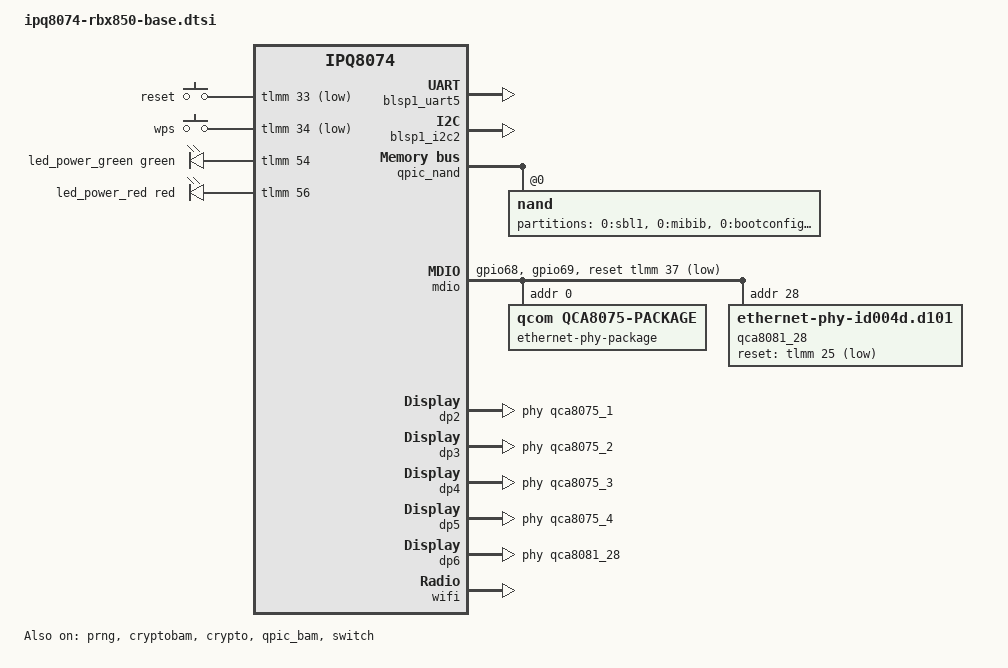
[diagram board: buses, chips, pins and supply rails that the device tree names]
// SPDX-License-Identifier: GPL-2.0-or-later OR MIT
/*
 * Copyright (c) 2021, Flole <flole@flole.de>
 * Copyright (c) 2023, Andrew Smith <gul.code@outlook.com>
 */

/dts-v1/;

#include "ipq8074.dtsi"
#include "ipq8074-ess.dtsi"
#include "ipq8074-hk-cpu.dtsi"
#include <dt-bindings/gpio/gpio.h>
#include <dt-bindings/input/input.h>
#include <dt-bindings/leds/common.h>

/ {
	aliases {
		serial0 = &blsp1_uart5;
		led-boot = &led_power_green;
		led-failsafe = &led_power_red;
		led-running = &led_power_green;
		led-upgrade = &led_power_green;
		label-mac-device = &dp2;
	};

	chosen {
		stdout-path = "serial0:115200n8";
		bootargs = "console=ttyMSM0,115200n8 ubi.mtd=fs ubi.block=0,rootfs root=/dev/ubiblock0_1 rootfstype=squashfs rootwait";
	};

	keys {
		compatible = "gpio-keys";

		reset {
			label = "reset";
			gpios = <&tlmm 33 GPIO_ACTIVE_LOW>;
			linux,code = <KEY_RESTART>;
		};

		wps {
			label = "wps";
			gpios = <&tlmm 34 GPIO_ACTIVE_LOW>;
			linux,code = <KEY_WPS_BUTTON>;
		};
	};

	leds {
		compatible = "gpio-leds";

		led_power_green: power-green {
			function = LED_FUNCTION_POWER;
			gpios = <&tlmm 54 GPIO_ACTIVE_HIGH>;
			color = <LED_COLOR_ID_GREEN>;
		};

		led_power_red: power-red {
			function = LED_FUNCTION_POWER;
			gpios = <&tlmm 56 GPIO_ACTIVE_HIGH>;
			color = <LED_COLOR_ID_RED>;
			panic-indicator;
		};
	};
};

&tlmm {
	mdio_pins: mdio-pins {
		mdc {
			pins = "gpio68";
			function = "mdc";
			drive-strength = <8>;
			bias-pull-up;
		};

		mdio {
			pins = "gpio69";
			function = "mdio";
			drive-strength = <8>;
			bias-pull-up;
		};
	};

	leds_pins: leds_pinmux {
		led_power_green {
			pins = "gpio54";
			function = "gpio";
			drive-strength = <8>;
			bias-pull-down;
		};

		led_power_red {
			pins = "gpio56";
			function = "gpio";
			drive-strength = <8>;
			bias-pull-down;
		};

	};

	button_pins: buttons_pinmux {
		wps_button {
			pins = "gpio34";
			function = "gpio";
			drive-strength = <8>;
			bias-pull-up;
		};

		reset_button {
			pins = "gpio33";
			function = "gpio";
			drive-strength = <8>;
			bias-pull-up;
		};
	};
};

&blsp1_uart5 {
	status = "okay";
};

&blsp1_i2c2 {
	pinctrl-0 = <&i2c_0_pins>;
	pinctrl-names = "default";

	status = "okay";
};

&prng {
	status = "okay";
};

&cryptobam {
	status = "okay";
};

&crypto {
	status = "okay";
};

&qpic_bam {
	status = "okay";
};

&qpic_nand {
	status = "okay";

	/*
	 * Bootloader will find the NAND DT node by the compatible and
	 * then "fixup" it by adding the partitions from the SMEM table
	 * using the legacy bindings thus making it impossible for us
	 * to change the partition table or utilize NVMEM for calibration.
	 * So add a dummy partitions node that bootloader will populate
	 * and set it as disabled so the kernel ignores it instead of
	 * printing warnings due to the broken way bootloader adds the
	 * partitions.
	 */
	partitions {
		status = "disabled";
	};

	nand@0 {
		reg = <0>;
		nand-ecc-strength = <4>;
		nand-ecc-step-size = <512>;
		nand-bus-width = <8>;

		partitions {
			compatible = "fixed-partitions";
			#address-cells = <1>;
			#size-cells = <1>;

			partition@0 {
				label = "0:sbl1";
				reg = <0x00 0x100000>;
				read-only;
			};

			partition@100000 {
				label = "0:mibib";
				reg = <0x100000 0x100000>;
				read-only;
			};

			partition@200000 {
				label = "0:bootconfig";
				reg = <0x200000 0x80000>;
				read-only;
			};

			partition@280000 {
				label = "0:bootconfig_1";
				reg = <0x280000 0x80000>;
				read-only;
			};

			partition@300000 {
				label = "0:qsee";
				reg = <0x300000 0x300000>;
				read-only;
			};

			partition@600000 {
				label = "0:qsee_1";
				reg = <0x600000 0x300000>;
				read-only;
			};

			partition@900000 {
				label = "0:devcfg";
				reg = <0x900000 0x80000>;
				read-only;
			};

			partition@980000 {
				label = "0:devcfg_1";
				reg = <0x980000 0x80000>;
				read-only;
			};

			partition@a00000 {
				label = "0:apdp";
				reg = <0xa00000 0x80000>;
				read-only;
			};

			partition@a80000 {
				label = "0:apdp_1";
				reg = <0xa80000 0x80000>;
				read-only;
			};

			partition@b00000 {
				label = "0:rpm";
				reg = <0xb00000 0x80000>;
				read-only;
			};

			partition@b80000 {
				label = "0:rpm_1";
				reg = <0xb80000 0x80000>;
				read-only;
			};

			partition@c00000 {
				label = "0:cdt";
				reg = <0xc00000 0x80000>;
				read-only;
			};

			partition@c80000 {
				label = "0:cdt_1";
				reg = <0xc80000 0x80000>;
				read-only;
			};

			partition@d00000 {
				label = "0:appsblenv";
				reg = <0xd00000 0x80000>;
			};

			partition@d80000 {
				label = "0:appsbl";
				reg = <0xd80000 0x100000>;
				read-only;
			};

			partition@e80000 {
				label = "0:appsbl_1";
				reg = <0xe80000 0x100000>;
				read-only;
			};

			partition@f80000 {
				label = "0:art";
				reg = <0xf80000 0x80000>;
				read-only;

				nvmem-layout {
					compatible = "fixed-layout";
					#address-cells = <1>;
					#size-cells = <1>;

					/* vendor copies 0x20000 from ART offset 0x1000 */
					caldata_art: calibration@1000 {
						reg = <0x1000 0x20000>;
					};
				};
			};

			partition@1000000 {
				label = "0:art.bak";
				reg = <0x1000000 0x80000>;
				read-only;
			};

			partition@1080000 {
				label = "config";
				reg = <0x1080000 0x100000>;
			};

			partition@1180000 {
				label = "boarddata1";
				reg = <0x1180000 0x100000>;

				nvmem-layout {
					compatible = "fixed-layout";
					#address-cells = <1>;
					#size-cells = <1>;

					macaddr_boarddata1_0: macaddr@0 {
						reg = <0x0 0x6>;
					};

					macaddr_boarddata1_6: macaddr@6 {
						reg = <0x6 0x6>;
					};

					caldata_boarddata1: caldata@0 {
						reg = <0x0 0x20000>;
					};
				};
			};

			partition@1280000 {
				label = "boarddata2";
				reg = <0x1280000 0x100000>;
			};

			partition@1380000 {
				label = "pot";
				reg = <0x1380000 0x100000>;
				read-only;
			};

			partition@1480000 {
				label = "dnidata";
				reg = <0x1480000 0x500000>;
				read-only;
			};

			partition@3e80000 {
				label = "fs";
				reg = <0x3e80000 0x0c180000>;
			};
		};
	};
};

&mdio {
	status = "okay";

	pinctrl-0 = <&mdio_pins>;
	pinctrl-names = "default";
	reset-gpios = <&tlmm 37 GPIO_ACTIVE_LOW>;

	ethernet-phy-package@0 {
		#address-cells = <1>;
		#size-cells = <0>;
		reg = <0>;

		compatible = "qcom,qca8075-package";

		qca8075_1: ethernet-phy@1 {
			compatible = "ethernet-phy-ieee802.3-c22";
			reg = <1>;
		};

		qca8075_2: ethernet-phy@2 {
			compatible = "ethernet-phy-ieee802.3-c22";
			reg = <2>;
		};

		qca8075_3: ethernet-phy@3 {
			compatible = "ethernet-phy-ieee802.3-c22";
			reg = <3>;
		};

		qca8075_4: ethernet-phy@4 {
			compatible = "ethernet-phy-ieee802.3-c22";
			reg = <4>;
		};
	};

	qca8081_28: ethernet-phy@28 {
		compatible = "ethernet-phy-id004d.d101";
		reg = <28>;
		reset-deassert-us = <10000>;
		reset-gpios = <&tlmm 25 GPIO_ACTIVE_LOW>;
	};
};

&switch {
	status = "okay";

	switch_lan_bmp = <(ESS_PORT2 | ESS_PORT3 | ESS_PORT4 | ESS_PORT5)>; /* lan port bitmap */
	switch_wan_bmp = <ESS_PORT6>; /* wan port bitmap */
	switch_mac_mode = <MAC_MODE_PSGMII>; /* mac mode for uniphy instance0*/
	switch_mac_mode2 = <MAC_MODE_SGMII_PLUS>; /* mac mode for uniphy instance2*/

	qcom,port_phyinfo {
		port@2 {
			port_id = <2>;
			phy_address = <1>;
		};
		port@3 {
			port_id = <3>;
			phy_address = <2>;
		};
		port@4 {
			port_id = <4>;
			phy_address = <3>;
		};
		port@5 {
			port_id = <5>;
			phy_address = <4>;
		};
		port@6 {
			port_id = <6>;
			phy_address = <28>;
			port_mac_sel = "QGMAC_PORT";
		};
	};
};

&edma {
	status = "okay";
};

&dp2 {
	status = "okay";
	phy-handle = <&qca8075_1>;
	label = "lan2";
	nvmem-cells = <&macaddr_boarddata1_0>;
	nvmem-cell-names = "mac-address";
};

&dp3 {
	status = "okay";
	phy-handle = <&qca8075_2>;
	label = "lan3";
	nvmem-cells = <&macaddr_boarddata1_0>;
	nvmem-cell-names = "mac-address";
};

&dp4 {
	status = "okay";
	phy-handle = <&qca8075_3>;
	label = "lan4";
	nvmem-cells = <&macaddr_boarddata1_0>;
	nvmem-cell-names = "mac-address";
};

&dp5 {
	status = "okay";
	phy-handle = <&qca8075_4>;
	label = "lan5";
	nvmem-cells = <&macaddr_boarddata1_0>;
	nvmem-cell-names = "mac-address";
};

&dp6 {
	status = "okay";
	phy-handle = <&qca8081_28>;
	label = "wan";
	nvmem-cells = <&macaddr_boarddata1_6>;
	nvmem-cell-names = "mac-address";
};

&wifi {
	status = "okay";

	qcom,ath11k-calibration-variant = "Netgear-RBx850";
	/* boarddata1 on shipped units carries config, not radio cal; use ART */
	nvmem-cells = <&caldata_art>;
	nvmem-cell-names = "calibration";
};
